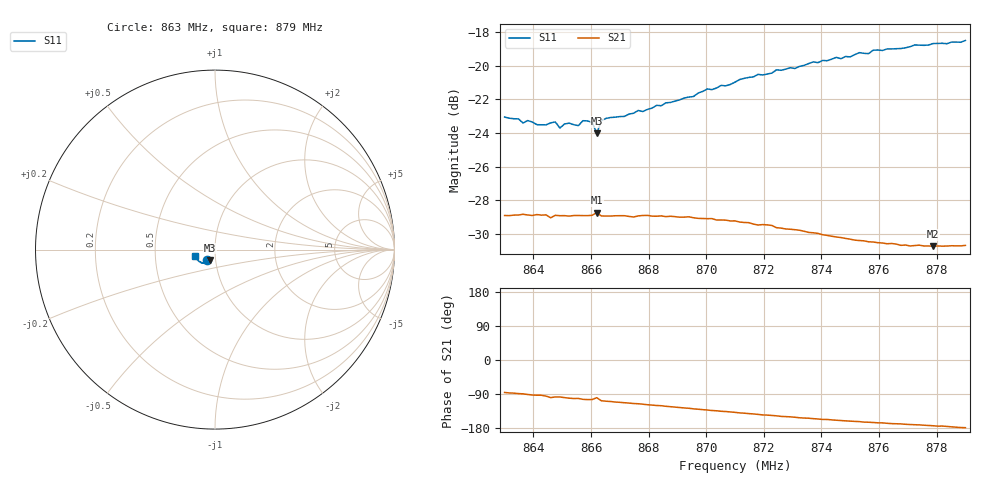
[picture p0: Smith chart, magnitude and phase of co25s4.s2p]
# HZ S RI R 50
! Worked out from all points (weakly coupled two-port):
!   101 points, 863 MHz to 879 MHz, reference 50 ohm
!   highest |S21| = -28.73 dB at 866.2 MHz (marker M1); lowest = -30.7 dB at 877.88 MHz (marker M2)
!   lowest |S11| = -24.0 dB at 866.2 MHz (marker M3), VSWR 1.13, Z = 47.2 - j5.43 ohm
!   |S11| at or under -10 dB: start of sweep to end of sweep
!   S12 and S22 are empty: the file has one direction only
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8.63e8  -0.0435 -0.0553  0.00273 -0.0358  0 0  0 0
8.6412e8  -0.039 -0.0543  -0.00184 -0.0361  0 0  0 0
8.646e8  -0.0391 -0.0552  -0.0057 -0.0349  0 0  0 0
8.6476e8  -0.0371 -0.057  -0.00467 -0.0357  0 0  0 0
8.6492e8  -0.0345 -0.0554  -0.0047 -0.0356  0 0  0 0
8.6524e8  -0.0376 -0.0561  -0.00664 -0.0351  0 0  0 0
8.6556e8  -0.0337 -0.0571  -0.00711 -0.0352  0 0  0 0
8.6572e8  -0.0353 -0.0589  -0.00856 -0.0349  0 0  0 0
8.6604e8  -0.0341 -0.0587  -0.00894 -0.0348  0 0  0 0
8.662e8  -0.0261 -0.0573  -0.00599 -0.0361  0 0  0 0
8.6636e8  -0.0349 -0.0592  -0.0108 -0.0341  0 0  0 0
8.6652e8  -0.0334 -0.0612  -0.0115 -0.0339  0 0  0 0
8.6716e8  -0.0342 -0.0619  -0.0139 -0.0331  0 0  0 0
8.6764e8  -0.0353 -0.0646  -0.0154 -0.0323  0 0  0 0
8.6844e8  -0.0354 -0.0673  -0.0183 -0.0308  0 0  0 0
8.6956e8  -0.0401 -0.0703  -0.0222 -0.0275  0 0  0 0
8.7004e8  -0.0431 -0.0735  -0.0236 -0.0261  0 0  0 0
8.71e8  -0.0491 -0.0746  -0.0258 -0.0231  0 0  0 0
8.7372e8  -0.0694 -0.0755  -0.0289 -0.0136  0 0  0 0
8.7644e8  -0.0931 -0.0623  -0.029 -0.00622  0 0  0 0
8.7788e8  -0.1052 -0.0496  -0.0289 -0.00327  0 0  0 0
8.79e8  -0.1126 -0.0377  -0.0293 -0.000716  0 0  0 0
